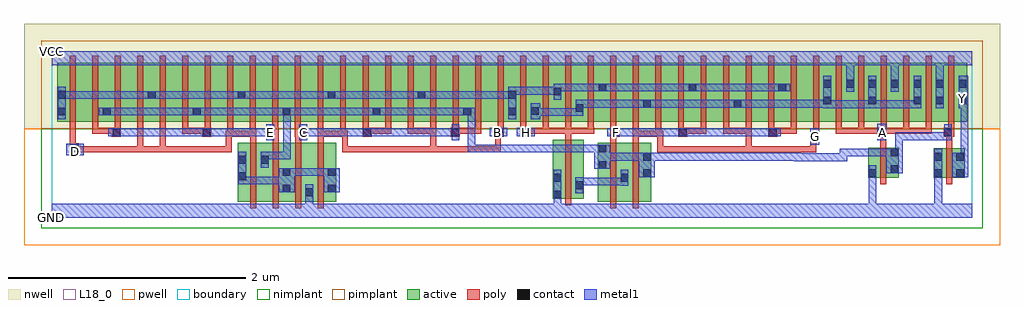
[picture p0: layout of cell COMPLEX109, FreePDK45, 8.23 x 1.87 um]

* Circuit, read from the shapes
.subckt COMPLEX109 A B C D E F G GND H VCC Y
M1 n1 D n2 VSUBS nfet w=0.5u l=0.05u
M2 n2 E n1 VSUBS nfet w=0.5u l=0.05u
M3 GND C n2 VSUBS nfet w=0.5u l=0.05u
M4 n2 B GND VSUBS nfet w=0.5u l=0.05u
M5 n3 H GND VSUBS nfet w=0.5u l=0.05u
M6 n3 F n1 VSUBS nfet w=0.5u l=0.05u
M7 n1 G n3 VSUBS nfet w=0.5u l=0.05u
M8 n1 A GND VSUBS nfet w=0.25u l=0.05u
M9 Y n1 GND VSUBS nfet w=0.25u l=0.05u
M10 n4 D n5 n6 pfet w=0.5u l=0.05u
M11 n1 E n4 n6 pfet w=0.5u l=0.05u
M12 n7 E n1 n6 pfet w=0.5u l=0.05u
M13 n5 D n7 n6 pfet w=0.5u l=0.05u
M14 n8 D n5 n6 pfet w=0.5u l=0.05u
M15 n1 E n8 n6 pfet w=0.5u l=0.05u
M16 n9 E n1 n6 pfet w=0.5u l=0.05u
M17 n5 D n9 n6 pfet w=0.5u l=0.05u
M18 n10 D n5 n6 pfet w=0.5u l=0.05u
M19 n1 E n10 n6 pfet w=0.5u l=0.05u
M20 n11 C n1 n6 pfet w=0.5u l=0.05u
M21 n5 B n11 n6 pfet w=0.5u l=0.05u
M22 n12 B n5 n6 pfet w=0.5u l=0.05u
M23 n1 C n12 n6 pfet w=0.5u l=0.05u
M24 n13 C n1 n6 pfet w=0.5u l=0.05u
M25 n5 B n13 n6 pfet w=0.5u l=0.05u
M26 n14 B n5 n6 pfet w=0.5u l=0.05u
M27 n1 C n14 n6 pfet w=0.5u l=0.05u
M28 n15 C n1 n6 pfet w=0.5u l=0.05u
M29 n5 B n15 n6 pfet w=0.5u l=0.05u
M30 n16 H n5 n6 pfet w=0.5u l=0.05u m=4
M31 n17 F n5 n6 pfet w=0.5u l=0.05u
M32 n16 G n17 n6 pfet w=0.5u l=0.05u
M33 n18 G n16 n6 pfet w=0.5u l=0.05u
M34 n5 F n18 n6 pfet w=0.5u l=0.05u
M35 n19 F n5 n6 pfet w=0.5u l=0.05u
M36 n16 G n19 n6 pfet w=0.5u l=0.05u
M37 n20 G n16 n6 pfet w=0.5u l=0.05u
M38 n5 F n20 n6 pfet w=0.5u l=0.05u
M39 n21 F n5 n6 pfet w=0.5u l=0.05u
M40 n16 G n21 n6 pfet w=0.5u l=0.05u
M41 VCC A n16 n6 pfet w=0.5u l=0.05u m=5
M42 Y n1 VCC n6 pfet w=0.5u l=0.05u
.ends

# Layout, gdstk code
import gdstk
lib = gdstk.Library(unit=1e-6, precision=1e-09)
def R(c, l, rs):  # rectangles x0, y0, x1, y1
    for r in rs: c.add(gdstk.rectangle(r[:2], r[2:], *l))
def A(c, l, x, y, w, h, nx, ny, dx, dy):  # array of equal rectangles
    R(c, l, [(x+i*dx, y+j*dy, x+i*dx+w, y+j*dy+h) for i in range(nx) for j in range(ny)])
active = (1, 0)
pwell = (2, 0)
nwell = (3, 0)
nimplant = (4, 0)
pimplant = (5, 0)
poly = (9, 0)
contact = (10, 0)
metal1 = (11, 0)
L18_0 = (18, 0)
boundary = (235, 0)

complex109 = lib.new_cell('COMPLEX109')
A(complex109, active, 0.045, 0.807, 0.225, 0.5, 4, 1, 0.38, 0)
A(complex109, active, 0.27, 0.807, 0.23, 0.5, 3, 1, 0.38, 0)
A(complex109, active, 2.17, 0.807, 0.225, 0.5, 3, 1, 0.38, 0)
A(complex109, active, 2.32, 0.807, 0.23, 0.5, 3, 1, 0.38, 0)
A(complex109, active, 3.845, 0.807, 0.075, 0.393, 3, 1, 0.38, 0)
R(complex109, active, [(1.567,0.132,1.832,0.632), (1.757,0.132,2.017,0.632), (1.942,0.132,2.207,0.632), (2.132,0.132,2.397,0.632), (2.132,0.132,2.207,0.592), (4.605,0.132,4.865,0.632), (4.79,0.132,5.055,0.632), (4.225,0.157,4.485,0.657), (4.225,0.157,4.3,0.657), (1.567,0.195,1.642,0.632), (1.757,0.195,1.832,0.592), (1.942,0.195,2.017,0.592), (2.322,0.195,2.397,0.632), (4.41,0.195,4.485,0.657), (4.605,0.195,4.68,0.632), (4.79,0.195,4.865,0.592), (4.98,0.195,5.055,0.632), (7.437,0.335,7.512,0.585), (7.437,0.335,7.697,0.585), (7.622,0.335,7.697,0.585), (6.882,0.337,6.957,0.587), (6.882,0.337,7.142,0.587), (7.067,0.37,7.142,0.587), (0.045,0.807,0.15,1.2), (0.425,0.807,0.5,1.07), (0.805,0.807,0.88,1.2), (1.185,0.807,1.26,1.07), (1.41,0.807,1.637,1.307), (1.562,0.807,1.637,1.2), (1.562,0.807,1.79,1.307), (1.79,0.807,2.017,1.307), (1.942,0.807,2.17,1.307), (1.942,0.807,2.017,1.07), (2.32,0.807,2.395,1.2), (2.7,0.807,2.775,1.07), (3.08,0.807,3.155,1.2), (3.31,0.807,3.54,1.307), (3.465,0.807,3.69,1.307), (3.465,0.807,3.54,1.07), (3.69,0.807,3.92,1.307), (3.845,0.807,4.11,1.307), (4.035,0.807,4.3,1.307), (4.035,0.807,4.11,1.07), (4.225,0.807,4.487,1.307), (4.412,0.807,4.487,1.07), (4.412,0.807,4.68,1.307), (4.605,0.807,4.83,1.307), (4.83,0.807,5.055,1.307), (4.98,0.807,5.055,1.07), (4.98,0.807,5.21,1.307), (5.21,0.807,5.44,1.307), (5.365,0.807,5.44,1.2), (5.365,0.807,5.59,1.307), (5.59,0.807,5.82,1.307), (5.745,0.807,5.97,1.307), (5.745,0.807,5.82,1.07), (5.97,0.807,6.197,1.307), (6.122,0.807,6.197,1.2), (6.122,0.807,6.35,1.307), (6.35,0.807,6.575,1.307), (6.5,0.807,6.575,1.2), (6.5,0.807,6.77,1.307), (6.695,0.807,6.955,1.307), (6.695,0.807,6.77,1.307), (6.88,0.807,7.145,1.307), (6.88,0.807,6.955,1.2), (7.07,0.807,7.145,1.307), (7.07,0.807,7.337,1.307), (7.262,0.807,7.337,1.2), (7.262,0.807,7.525,1.307), (7.45,0.807,7.525,1.307), (7.45,0.807,7.717,1.307), (7.642,0.807,7.717,1.2)])
R(complex109, pwell, [(-0.235,-0.235,7.995,0.75)])
R(complex109, nwell, [(-0.235,0.75,7.995,1.635)])
R(complex109, nimplant, [(-0.09,-0.09,7.85,0.75)])
R(complex109, pimplant, [(-0.09,0.75,7.85,1.49)])
A(complex109, poly, 1.672, 0.077, 0.05, 0.61, 4, 1, 0.19, 0)
A(complex109, poly, 1.672, 0.637, 0.05, 0.095, 4, 1, 0.19, 0)
A(complex109, poly, 2.62, 0.707, 0.05, 0.095, 12, 1, 0.19, 0)
A(complex109, poly, 2.647, 0.707, 0.213, 0.05, 3, 1, 1.33, 0)
A(complex109, poly, 5.28, 0.707, 0.05, 0.095, 6, 1, 0.19, 0)
A(complex109, poly, 6.61, 0.707, 0.05, 0.095, 6, 1, 0.19, 0)
A(complex109, poly, 0.15, 0.752, 0.05, 0.61, 40, 1, 0.19, 0)
R(complex109, poly, [(4.71,0.077,4.76,0.687), (4.9,0.077,4.95,0.687), (4.33,0.102,4.38,0.712), (7.542,0.28,7.592,0.64), (6.987,0.282,7.037,0.642), (0.15,0.55,0.227,0.625), (0.177,0.55,0.227,0.6), (0.177,0.55,0.227,0.6), (0.177,0.55,0.227,0.6), (0.177,0.55,0.227,0.6), (0.177,0.55,0.227,0.6), (0.177,0.55,0.227,0.6), (0.177,0.55,0.425,0.6), (0.375,0.55,0.425,0.6), (0.375,0.55,0.425,0.6), (0.375,0.55,0.425,0.6), (0.375,0.55,0.637,0.6), (0.587,0.55,0.637,0.6), (0.587,0.55,0.637,0.6), (0.587,0.55,0.637,0.6), (0.587,0.55,0.772,0.6), (0.72,0.55,0.772,0.6), (0.72,0.55,0.77,0.802), (0.722,0.55,0.772,0.6), (0.722,0.55,0.772,0.6), (0.722,0.55,0.772,0.6), (0.722,0.55,0.772,0.6), (0.722,0.55,0.772,0.6), (0.722,0.55,0.772,0.6), (0.722,0.55,0.96,0.6), (0.91,0.55,0.962,0.6), (0.91,0.55,0.96,0.802), (0.912,0.55,0.962,0.6), (0.912,0.55,0.962,0.6), (0.912,0.55,0.962,0.6), (0.912,0.55,0.962,0.6), (0.912,0.55,0.962,0.6), (0.912,0.55,0.962,0.6), (0.912,0.55,1.185,0.6), (1.135,0.55,1.185,0.6), (1.135,0.55,1.185,0.6), (1.135,0.55,1.185,0.6), (1.135,0.55,1.385,0.6), (1.335,0.55,1.385,0.6), (1.335,0.55,1.385,0.6), (1.335,0.55,1.385,0.6), (1.335,0.55,1.517,0.6), (1.467,0.55,1.517,0.6), (1.467,0.55,1.517,0.6), (1.467,0.55,1.517,0.6), (1.467,0.55,1.517,0.732), (2.447,0.55,2.497,0.6), (2.447,0.55,2.497,0.6), (2.447,0.55,2.497,0.6), (2.447,0.55,2.497,0.6), (2.447,0.55,2.497,0.6), (2.447,0.55,2.497,0.732), (2.447,0.55,2.697,0.6), (2.647,0.55,2.697,0.6), (2.647,0.55,2.697,0.6), (2.647,0.55,2.697,0.6), (2.647,0.55,2.83,0.6), (2.78,0.55,2.83,0.6), (2.78,0.55,2.977,0.6), (2.927,0.55,2.977,0.6), (2.927,0.55,2.977,0.6), (2.927,0.55,2.977,0.6), (2.927,0.55,3.11,0.6), (3.06,0.55,3.11,0.6), (3.06,0.55,3.242,0.6), (3.192,0.55,3.242,0.6), (3.192,0.55,3.242,0.6), (3.192,0.55,3.242,0.6), (3.192,0.55,3.375,0.6), (3.192,0.55,3.242,0.757), (3.325,0.55,3.375,0.6), (3.325,0.55,3.375,0.6), (3.325,0.55,3.375,0.6), (3.325,0.55,3.655,0.6), (3.605,0.55,3.655,0.6), (3.605,0.55,3.787,0.6), (3.737,0.55,3.787,0.6), (3.737,0.55,3.787,0.6), (3.737,0.55,3.787,0.6), (3.737,0.55,3.787,0.6), (3.737,0.55,3.787,0.6), (3.737,0.55,3.787,0.732), (5.105,0.55,5.155,0.6), (5.105,0.55,5.155,0.6), (5.105,0.55,5.155,0.6), (5.105,0.55,5.387,0.6), (5.105,0.55,5.155,0.732), (5.337,0.55,5.387,0.6), (5.337,0.55,5.387,0.6), (5.337,0.55,5.387,0.6), (5.337,0.55,5.522,0.6), (5.472,0.55,5.522,0.6), (5.472,0.55,5.522,0.6), (5.472,0.55,5.522,0.6), (5.472,0.55,5.767,0.6), (5.717,0.55,5.767,0.6), (5.717,0.55,5.767,0.6), (5.717,0.55,5.767,0.6), (5.717,0.55,5.902,0.6), (5.852,0.55,5.902,0.6), (5.852,0.55,5.902,0.6), (5.852,0.55,5.902,0.6), (5.852,0.55,6.035,0.6), (5.852,0.55,5.902,0.757), (5.985,0.55,6.035,0.6), (5.985,0.55,6.035,0.6), (5.985,0.55,6.035,0.6), (5.985,0.55,6.25,0.6), (6.2,0.55,6.25,0.6), (6.2,0.55,6.25,0.6), (6.2,0.55,6.25,0.6), (6.2,0.55,6.447,0.6), (6.397,0.55,6.447,0.6), (6.397,0.55,6.447,0.6), (6.397,0.55,6.447,0.6), (6.397,0.55,6.447,0.697), (0.15,0.575,0.2,0.802), (7.542,0.59,7.592,0.732), (6.987,0.592,7.037,0.732), (4.71,0.637,4.76,0.732), (4.9,0.637,4.95,0.732), (6.397,0.647,6.447,0.697), (6.397,0.647,6.447,0.697), (6.397,0.647,6.472,0.722), (4.33,0.662,4.38,0.757), (6.42,0.672,6.47,0.802), (0.507,0.682,0.582,0.757), (1.267,0.682,1.342,0.757), (1.467,0.682,1.532,0.732), (1.48,0.682,1.53,0.802), (1.482,0.682,1.532,0.732), (1.482,0.682,1.532,0.732), (1.482,0.682,1.72,0.732), (1.67,0.682,1.722,0.732), (1.67,0.682,1.72,0.802), (1.807,0.682,1.912,0.757), (2.05,0.682,2.157,0.757), (2.24,0.682,2.292,0.732), (2.24,0.682,2.29,0.802), (2.242,0.682,2.292,0.732), (2.242,0.682,2.292,0.732), (2.242,0.682,2.48,0.732), (2.43,0.682,2.48,0.802), (2.43,0.682,2.497,0.732), (2.62,0.682,2.697,0.757), (3.365,0.682,3.44,0.757), (3.737,0.682,3.812,0.757), (3.95,0.682,4.027,0.757), (4.71,0.682,4.787,0.757), (4.9,0.682,4.95,0.732), (4.9,0.682,4.95,0.732), (4.9,0.682,4.95,0.732), (4.9,0.682,5.14,0.732), (4.9,0.682,4.95,0.802), (5.09,0.682,5.142,0.732), (5.09,0.682,5.14,0.802), (5.092,0.682,5.142,0.732), (5.092,0.682,5.155,0.732), (5.28,0.682,5.357,0.757), (6.04,0.682,6.117,0.757), (6.965,0.682,7.04,0.757), (7.52,0.682,7.61,0.757), (0.34,0.707,0.39,0.802), (0.34,0.707,0.392,0.757), (0.342,0.707,0.392,0.757), (0.342,0.707,0.392,0.757), (0.342,0.707,0.557,0.757), (0.53,0.707,0.58,0.802), (1.1,0.707,1.15,0.802), (1.1,0.707,1.152,0.757), (1.102,0.707,1.152,0.757), (1.102,0.707,1.152,0.757), (1.102,0.707,1.317,0.757), (1.29,0.707,1.34,0.802), (1.86,0.707,1.91,0.802), (2.05,0.707,2.1,0.802), (2.647,0.707,2.697,0.757), (2.647,0.707,2.697,0.757), (2.81,0.707,2.86,0.757), (3,0.707,3.05,0.757), (3,0.707,3.11,0.757), (3.06,0.707,3.11,0.757), (3.06,0.707,3.24,0.757), (3.19,0.707,3.242,0.757), (3.192,0.707,3.242,0.757), (3.192,0.707,3.242,0.757), (3.39,0.707,3.44,0.757), (3.39,0.707,3.44,0.757), (3.39,0.707,3.62,0.757), (3.57,0.707,3.62,0.757), (4.14,0.707,4.192,0.757), (4.14,0.707,4.192,0.757), (4.142,0.707,4.192,0.757), (4.142,0.707,4.38,0.757), (4.33,0.707,4.38,0.757), (4.33,0.707,4.38,0.757), (4.33,0.707,4.38,0.757), (4.33,0.707,4.57,0.757), (4.52,0.707,4.572,0.757), (4.52,0.707,4.572,0.757), (4.522,0.707,4.572,0.757), (5.307,0.707,5.357,0.757), (5.307,0.707,5.357,0.757), (5.47,0.707,5.52,0.757), (5.66,0.707,5.71,0.757), (5.66,0.707,5.71,0.757), (5.66,0.707,5.71,0.757), (5.66,0.707,5.9,0.757), (5.85,0.707,5.902,0.757), (6.067,0.707,6.28,0.757), (6.23,0.707,6.282,0.757), (6.23,0.707,6.282,0.757), (6.232,0.707,6.282,0.757), (6.61,0.707,6.66,0.757), (6.61,0.707,6.85,0.757), (6.8,0.707,6.852,0.757), (6.8,0.707,6.852,0.757), (6.802,0.707,6.852,0.757), (6.802,0.707,7.015,0.757), (6.965,0.707,7.015,0.757), (6.965,0.707,7.015,0.757), (6.99,0.707,7.23,0.757), (7.18,0.707,7.232,0.757), (7.18,0.707,7.232,0.757), (7.182,0.707,7.232,0.757), (7.182,0.707,7.42,0.757), (7.37,0.707,7.42,0.757), (7.37,0.707,7.42,0.757), (7.37,0.707,7.42,0.757)])
R(complex109, contact, [(4.23,0.162,4.295,0.227), (2.137,0.18,2.202,0.245), (1.947,0.212,2.012,0.277), (2.327,0.212,2.392,0.277), (4.415,0.24,4.48,0.305), (4.23,0.302,4.295,0.367), (4.795,0.302,4.86,0.367), (1.572,0.315,1.637,0.38), (4.985,0.34,5.05,0.405), (7.442,0.34,7.507,0.405), (7.627,0.34,7.692,0.405), (6.887,0.342,6.952,0.407), (1.947,0.352,2.012,0.417), (2.327,0.352,2.392,0.417), (7.072,0.375,7.137,0.44), (4.61,0.41,4.675,0.475), (1.572,0.455,1.637,0.52), (1.762,0.455,1.827,0.52), (4.985,0.48,5.05,0.545), (7.442,0.48,7.507,0.545), (7.627,0.48,7.692,0.545), (7.072,0.515,7.137,0.58), (4.61,0.55,4.675,0.615), (0.157,0.555,0.222,0.62), (6.402,0.652,6.467,0.717), (0.512,0.687,0.577,0.752), (1.272,0.687,1.337,0.752), (1.812,0.687,1.877,0.752), (2.087,0.687,2.152,0.752), (2.627,0.687,2.692,0.752), (3.37,0.687,3.435,0.752), (3.742,0.687,3.807,0.752), (3.957,0.687,4.022,0.752), (4.717,0.687,4.782,0.752), (5.287,0.687,5.352,0.752), (6.047,0.687,6.112,0.752), (6.97,0.687,7.035,0.752), (7.525,0.687,7.59,0.752), (0.05,0.862,0.115,0.927), (0.43,0.862,0.495,0.927), (1.19,0.862,1.255,0.927), (1.947,0.862,2.012,0.927), (2.705,0.862,2.77,0.927), (3.47,0.862,3.535,0.927), (3.85,0.862,3.915,0.927), (4.04,0.865,4.105,0.93), (4.417,0.892,4.482,0.957), (4.985,0.927,5.05,0.992), (5.75,0.927,5.815,0.992), (6.505,0.955,6.57,1.02), (6.885,0.955,6.95,1.02), (7.267,0.955,7.332,1.02), (7.455,0.955,7.52,1.02), (7.647,0.955,7.712,1.02), (0.81,1,0.875,1.065), (1.567,1,1.632,1.065), (2.325,1,2.39,1.065), (3.085,1,3.15,1.065), (0.05,1.002,0.115,1.067), (3.85,1.002,3.915,1.067), (4.23,1.03,4.295,1.095), (4.61,1.065,4.675,1.13), (5.37,1.065,5.435,1.13), (6.127,1.065,6.192,1.13), (6.505,1.095,6.57,1.16), (6.7,1.095,6.765,1.16), (6.885,1.095,6.95,1.16), (7.075,1.095,7.14,1.16), (7.267,1.095,7.332,1.16), (7.455,1.095,7.52,1.16), (7.647,1.095,7.712,1.16)])
R(complex109, metal1, [(0,0,7.76,0.115), (2.137,0.05,2.202,0.21), (4.23,0.05,4.295,0.115), (4.23,0.05,4.295,0.115), (4.23,0.05,4.295,0.192), (6.887,0.05,6.952,0.115), (6.887,0.05,6.952,0.115), (6.887,0.05,6.952,0.352), (7.442,0.05,7.507,0.115), (7.442,0.05,7.507,0.115), (7.442,0.05,7.507,0.115), (7.442,0.05,7.507,0.115), (7.442,0.05,7.507,0.115), (7.442,0.05,7.507,0.115), (7.442,0.05,7.507,0.37), (4.23,0.127,4.295,0.402), (2.137,0.145,2.202,0.21), (2.137,0.145,2.202,0.21), (2.137,0.145,2.202,0.28), (4.415,0.205,4.48,0.34), (1.912,0.212,2.047,0.417), (2.292,0.212,2.427,0.417), (4.795,0.267,4.86,0.402), (4.415,0.272,4.48,0.337), (4.415,0.272,4.48,0.337), (4.415,0.272,4.64,0.337), (4.575,0.272,4.64,0.337), (4.575,0.272,4.86,0.337), (4.795,0.272,4.86,0.337), (4.795,0.272,4.86,0.337), (1.572,0.28,1.637,0.555), (1.572,0.28,1.735,0.345), (1.67,0.28,1.735,0.345), (1.67,0.28,1.84,0.345), (1.775,0.28,1.84,0.345), (1.775,0.28,1.872,0.345), (1.807,0.28,1.872,0.345), (1.807,0.28,1.977,0.345), (6.887,0.287,6.952,0.352), (6.887,0.287,6.952,0.352), (6.887,0.287,6.952,0.372), (7.442,0.305,7.507,0.58), (6.887,0.307,6.952,0.372), (6.887,0.307,6.952,0.442), (4.95,0.34,5.085,0.545), (7.592,0.34,7.727,0.545), (1.982,0.352,2.185,0.417), (2.12,0.352,2.185,0.417), (2.12,0.352,2.185,0.417), (2.12,0.352,2.185,0.417), (2.12,0.352,2.357,0.417), (2.292,0.352,2.357,0.417), (2.292,0.352,2.357,0.417), (7.037,0.375,7.175,0.58), (4.575,0.41,4.71,0.615), (1.762,0.42,1.827,0.555), (6.255,0.475,6.32,0.54), (6.255,0.475,6.32,0.54), (6.255,0.475,6.457,0.54), (6.255,0.475,6.32,0.545), (6.392,0.475,6.457,0.54), (6.392,0.475,6.457,0.54), (6.392,0.475,6.457,0.54), (6.392,0.475,6.707,0.54), (6.642,0.475,6.707,0.54), (6.642,0.475,6.707,0.54), (6.642,0.475,6.707,0.54), (6.642,0.475,6.707,0.58), (4.645,0.48,4.85,0.545), (4.785,0.48,4.85,0.545), (4.785,0.48,4.85,0.545), (4.785,0.48,4.85,0.545), (4.785,0.48,5.015,0.545), (4.95,0.48,5.015,0.545), (4.95,0.48,5.015,0.545), (5.02,0.48,5.18,0.545), (5.115,0.48,5.18,0.545), (5.115,0.48,5.222,0.545), (5.157,0.48,5.222,0.545), (5.157,0.48,5.505,0.545), (5.44,0.48,5.505,0.545), (5.44,0.48,5.505,0.545), (5.44,0.48,5.505,0.545), (5.44,0.48,5.642,0.545), (5.577,0.48,5.642,0.545), (5.577,0.48,5.642,0.545), (5.577,0.48,5.642,0.545), (5.577,0.48,5.782,0.545), (5.717,0.48,5.782,0.545), (5.717,0.48,5.782,0.545), (5.717,0.48,5.782,0.545), (5.717,0.48,5.92,0.545), (5.855,0.48,5.92,0.545), (5.855,0.48,6.02,0.545), (5.955,0.48,6.02,0.545), (5.955,0.48,6.157,0.545), (6.092,0.48,6.157,0.545), (6.092,0.48,6.157,0.545), (6.092,0.48,6.157,0.545), (6.092,0.48,6.32,0.545), (7.662,0.48,7.727,0.985), (7.662,0.48,7.727,0.545), (7.662,0.48,7.727,0.545), (7.662,0.48,7.727,0.545), (7.662,0.48,7.727,0.545), (7.662,0.48,7.727,0.545), (7.662,0.48,7.727,0.545), (1.762,0.49,1.872,0.555), (1.807,0.49,1.872,0.555), (1.807,0.49,2.015,0.555), (1.95,0.49,2.015,0.555), (1.95,0.49,2.015,0.927), (6.642,0.515,6.707,0.58), (6.642,0.515,6.887,0.58), (6.822,0.515,6.887,0.58), (6.822,0.515,6.95,0.58), (6.885,0.515,6.95,0.58), (6.885,0.515,7.032,0.58), (6.967,0.515,7.032,0.58), (6.967,0.515,7.102,0.58), (7.11,0.515,7.175,0.717), (0.122,0.527,0.267,0.62), (3.507,0.55,3.572,0.615), (3.507,0.55,3.572,0.615), (3.507,0.55,3.572,0.615), (3.507,0.55,3.572,0.615), (3.507,0.55,3.572,0.615), (3.507,0.55,3.777,0.615), (3.507,0.55,3.572,0.927), (3.712,0.55,3.777,0.615), (3.712,0.55,3.777,0.615), (3.712,0.55,3.777,0.615), (3.712,0.55,3.777,0.615), (3.712,0.55,3.777,0.615), (3.712,0.55,3.915,0.615), (3.85,0.55,3.915,0.615), (3.85,0.55,3.915,0.615), (3.85,0.55,3.915,0.615), (3.85,0.55,4.117,0.615), (4.052,0.55,4.117,0.615), (4.052,0.55,4.117,0.615), (4.052,0.55,4.117,0.615), (4.052,0.55,4.325,0.615), (4.26,0.55,4.325,0.615), (4.26,0.55,4.325,0.615), (4.26,0.55,4.325,0.615), (4.26,0.55,4.502,0.615), (4.437,0.55,4.502,0.615), (4.437,0.55,4.502,0.615), (4.437,0.55,4.502,0.615), (4.437,0.55,4.64,0.615), (6.397,0.612,6.472,0.752), (1.807,0.652,1.877,0.787), (2.087,0.652,2.152,0.787), (3.37,0.652,3.435,0.787), (6.96,0.652,7.037,0.79), (7.11,0.652,7.175,0.717), (7.11,0.652,7.175,0.717), (7.11,0.652,7.175,0.717), (7.11,0.652,7.315,0.717), (7.25,0.652,7.315,0.717), (7.25,0.652,7.452,0.717), (7.387,0.652,7.452,0.717), (7.387,0.652,7.452,0.717), (7.387,0.652,7.452,0.717), (7.387,0.652,7.59,0.717), (7.525,0.652,7.59,0.787), (0.477,0.687,0.612,0.752), (0.547,0.687,0.702,0.752), (0.637,0.687,0.702,0.752), (0.637,0.687,0.842,0.752), (0.777,0.687,0.842,0.752), (0.777,0.687,0.842,0.752), (0.777,0.687,0.842,0.752), (0.777,0.687,0.98,0.752), (0.915,0.687,0.98,0.752), (0.915,0.687,1.082,0.752), (1.017,0.687,1.082,0.752), (1.017,0.687,1.165,0.752), (1.1,0.687,1.165,0.752), (1.1,0.687,1.302,0.752), (1.237,0.687,1.302,0.752), (1.237,0.687,1.302,0.752), (1.237,0.687,1.372,0.752), (1.307,0.687,1.46,0.752), (1.395,0.687,1.46,0.752), (1.395,0.687,1.597,0.752), (1.532,0.687,1.597,0.752), (1.532,0.687,1.597,0.752), (1.532,0.687,1.597,0.752), (1.532,0.687,1.735,0.752), (1.67,0.687,1.735,0.752), (1.67,0.687,1.84,0.752), (1.775,0.687,1.84,0.752), (1.775,0.687,1.872,0.752), (2.087,0.687,2.185,0.752), (2.12,0.687,2.185,0.752), (2.12,0.687,2.382,0.752), (2.317,0.687,2.382,0.752), (2.317,0.687,2.382,0.752), (2.317,0.687,2.382,0.752), (2.317,0.687,2.52,0.752), (2.455,0.687,2.52,0.752), (2.455,0.687,2.59,0.752), (2.525,0.687,2.59,0.752), (2.525,0.687,2.657,0.752), (2.592,0.687,2.727,0.752), (2.662,0.687,2.727,0.752), (2.662,0.687,2.727,0.752), (2.662,0.687,2.942,0.752), (2.877,0.687,2.942,0.752), (2.877,0.687,2.942,0.752), (2.877,0.687,2.942,0.752), (2.877,0.687,3.087,0.752), (3.022,0.687,3.087,0.752), (3.022,0.687,3.087,0.752), (3.022,0.687,3.087,0.752), (3.022,0.687,3.225,0.752), (3.16,0.687,3.225,0.752), (3.16,0.687,3.362,0.752), (3.297,0.687,3.362,0.752), (3.297,0.687,3.435,0.752), (3.692,0.687,3.842,0.755), (3.922,0.687,4.072,0.755), (4.682,0.687,4.827,0.752), (4.762,0.687,4.85,0.752), (4.785,0.687,4.85,0.752), (4.785,0.687,4.997,0.752), (4.932,0.687,4.997,0.752), (4.932,0.687,4.997,0.752), (4.932,0.687,4.997,0.752), (4.932,0.687,5.18,0.752), (5.115,0.687,5.18,0.752), (5.115,0.687,5.222,0.752), (5.157,0.687,5.222,0.752), (5.157,0.687,5.317,0.752), (5.252,0.687,5.387,0.752), (5.322,0.687,5.387,0.752), (5.322,0.687,5.387,0.752), (5.322,0.687,5.642,0.752), (5.577,0.687,5.642,0.752), (5.577,0.687,5.642,0.752), (5.577,0.687,5.642,0.752), (5.577,0.687,5.782,0.752), (5.717,0.687,5.782,0.752), (5.717,0.687,5.782,0.752), (5.717,0.687,5.782,0.752), (5.717,0.687,5.92,0.752), (5.855,0.687,5.92,0.752), (5.855,0.687,6.02,0.752), (5.955,0.687,6.02,0.752), (5.955,0.687,6.077,0.752), (6.012,0.687,6.147,0.752), (0.05,0.827,0.117,1.102), (3.85,0.827,3.915,1.102), (4.04,0.83,4.117,0.965), (4.052,0.857,4.117,0.922), (4.052,0.857,4.117,0.922), (4.052,0.857,4.255,0.922), (4.19,0.857,4.255,0.922), (4.19,0.857,4.255,0.922), (4.19,0.857,4.255,0.922), (4.19,0.857,4.482,0.922), (4.417,0.857,4.482,0.992), (0.395,0.862,0.532,0.927), (0.467,0.862,0.532,0.927), (0.467,0.862,0.532,0.927), (0.467,0.862,0.702,0.927), (0.637,0.862,0.702,0.927), (0.637,0.862,0.842,0.927), (0.777,0.862,0.842,0.927), (0.777,0.862,0.842,0.927), (0.777,0.862,0.842,0.927), (0.777,0.862,0.98,0.927), (0.915,0.862,0.98,0.927), (0.915,0.862,1.082,0.927), (1.017,0.862,1.082,0.927), (1.017,0.862,1.165,0.927), (1.1,0.862,1.165,0.927), (1.1,0.862,1.22,0.927), (1.155,0.862,1.29,0.927), (1.225,0.862,1.397,0.927), (1.332,0.862,1.397,0.927), (1.332,0.862,1.44,0.927), (1.375,0.862,1.44,0.927), (1.375,0.862,1.597,0.927), (1.532,0.862,1.597,0.927), (1.532,0.862,1.597,0.927), (1.532,0.862,1.597,0.927), (1.532,0.862,1.735,0.927), (1.67,0.862,1.735,0.927), (1.67,0.862,1.84,0.927), (1.775,0.862,1.84,0.927), (1.775,0.862,1.872,0.927), (1.807,0.862,1.872,0.927), (1.807,0.862,1.977,0.927), (1.912,0.862,2.047,0.927), (1.95,0.862,2.015,0.927), (1.95,0.862,2.015,0.927), (1.95,0.862,2.015,0.927), (1.95,0.862,2.015,0.927), (1.95,0.862,2.015,0.927), (1.95,0.862,2.015,0.927), (1.95,0.862,2.217,0.927), (2.152,0.862,2.217,0.927), (2.152,0.862,2.382,0.927), (2.317,0.862,2.382,0.927), (2.317,0.862,2.382,0.927), (2.317,0.862,2.382,0.927), (2.317,0.862,2.52,0.927), (2.455,0.862,2.52,0.927), (2.455,0.862,2.562,0.927), (2.497,0.862,2.562,0.927), (2.497,0.862,2.735,0.927), (2.67,0.862,2.735,0.927), (2.67,0.862,2.735,0.927), (2.67,0.862,2.805,0.927), (2.74,0.862,2.942,0.927), (2.877,0.862,2.942,0.927), (2.877,0.862,2.942,0.927), (2.877,0.862,2.942,0.927), (2.877,0.862,3.087,0.927), (3.022,0.862,3.087,0.927), (3.022,0.862,3.087,0.927), (3.022,0.862,3.087,0.927), (3.022,0.862,3.225,0.927), (3.16,0.862,3.225,0.927), (3.16,0.862,3.362,0.927), (3.297,0.862,3.362,0.927), (3.297,0.862,3.362,0.927), (3.297,0.862,3.362,0.927), (3.297,0.862,3.5,0.927), (3.435,0.862,3.572,0.927), (6.505,0.92,6.57,1.195), (6.885,0.92,6.95,1.195), (7.267,0.92,7.332,1.195), (7.455,0.92,7.52,1.195), (7.647,0.92,7.727,1.195), (6.505,0.922,6.75,0.987), (6.685,0.922,6.75,0.987), (6.685,0.922,6.75,0.987), (6.685,0.922,6.75,0.987), (6.685,0.922,6.887,0.987), (6.822,0.922,6.887,0.987), (6.822,0.922,6.95,0.987), (6.885,0.922,7.032,0.987), (6.967,0.922,7.032,0.987), (6.967,0.922,7.172,0.987), (7.107,0.922,7.172,0.987), (7.107,0.922,7.175,0.987), (7.11,0.922,7.175,0.987), (7.11,0.922,7.332,0.987), (4.417,0.927,4.482,0.992), (4.417,0.927,4.482,0.992), (4.417,0.927,4.64,0.992), (4.575,0.927,4.64,0.992), (4.575,0.927,4.85,0.992), (4.785,0.927,4.85,0.992), (4.785,0.927,4.85,0.992), (4.785,0.927,4.85,0.992), (4.785,0.927,5.015,0.992), (4.95,0.927,5.015,0.992), (4.95,0.927,5.015,0.992), (4.95,0.927,5.085,0.992), (5.02,0.927,5.18,0.992), (5.115,0.927,5.18,0.992), (5.115,0.927,5.222,0.992), (5.157,0.927,5.222,0.992), (5.157,0.927,5.505,0.992), (5.44,0.927,5.505,0.992), (5.44,0.927,5.505,0.992), (5.44,0.927,5.505,0.992), (5.44,0.927,5.642,0.992), (5.577,0.927,5.642,0.992), (5.577,0.927,5.642,0.992), (5.577,0.927,5.642,0.992), (5.577,0.927,5.78,0.992), (5.715,0.927,5.85,0.992), (5.715,0.927,5.782,0.992), (5.717,0.927,5.782,0.992), (5.785,0.927,5.92,0.992), (5.855,0.927,5.92,0.992), (5.855,0.927,6.02,0.992), (5.955,0.927,6.02,0.992), (5.955,0.927,6.157,0.992), (6.092,0.927,6.157,0.992), (6.092,0.927,6.157,0.992), (6.092,0.927,6.157,0.992), (6.092,0.927,6.32,0.992), (6.255,0.927,6.32,0.992), (6.255,0.927,6.32,0.992), (6.255,0.927,6.32,0.992), (6.255,0.927,6.57,0.992), (6.505,0.927,6.57,0.992), (6.505,0.927,6.57,0.992), (4.23,0.995,4.297,1.13), (0.052,1,0.117,1.065), (0.052,1,0.117,1.065), (0.052,1,0.322,1.065), (0.257,1,0.322,1.065), (0.257,1,0.322,1.065), (0.257,1,0.322,1.065), (0.257,1,0.565,1.065), (0.5,1,0.565,1.065), (0.5,1,0.565,1.065), (0.5,1,0.565,1.065), (0.5,1,0.702,1.065), (0.637,1,0.702,1.065), (0.637,1,0.84,1.065), (0.775,1,0.91,1.065), (0.775,1,0.842,1.065), (0.777,1,0.842,1.065), (0.845,1,0.98,1.065), (0.915,1,0.98,1.065), (0.915,1,1.082,1.065), (1.017,1,1.082,1.065), (1.017,1,1.165,1.065), (1.1,1,1.165,1.065), (1.1,1,1.302,1.065), (1.237,1,1.302,1.065), (1.237,1,1.44,1.065), (1.375,1,1.44,1.065), (1.375,1,1.44,1.065), (1.375,1,1.44,1.065), (1.375,1,1.597,1.065), (1.532,1,1.597,1.065), (1.532,1,1.597,1.065), (1.532,1,1.667,1.065), (1.602,1,1.735,1.065), (1.67,1,1.735,1.065), (1.67,1,1.84,1.065), (1.775,1,1.84,1.065), (1.775,1,1.872,1.065), (1.807,1,1.872,1.065), (1.807,1,2.047,1.065), (1.982,1,2.047,1.065), (1.982,1,2.047,1.065), (1.982,1,2.047,1.065), (1.982,1,2.185,1.065), (2.12,1,2.185,1.065), (2.12,1,2.355,1.065), (2.29,1,2.355,1.065), (2.29,1,2.355,1.065), (2.29,1,2.425,1.065), (2.36,1,2.52,1.065), (2.455,1,2.52,1.065), (2.455,1,2.562,1.065), (2.497,1,2.562,1.065), (2.497,1,2.805,1.065), (2.74,1,2.805,1.065), (2.74,1,2.805,1.065), (2.74,1,2.805,1.065), (2.74,1,2.95,1.065), (2.885,1,2.95,1.065), (2.885,1,2.95,1.065), (2.885,1,2.95,1.065), (2.885,1,3.087,1.065), (3.022,1,3.087,1.065), (3.022,1,3.115,1.065), (3.05,1,3.185,1.065), (3.12,1,3.225,1.065), (3.16,1,3.225,1.065), (3.16,1,3.362,1.065), (3.297,1,3.362,1.065), (3.297,1,3.362,1.065), (3.297,1,3.362,1.065), (3.297,1,3.62,1.065), (3.555,1,3.62,1.065), (3.555,1,3.62,1.065), (3.555,1,3.62,1.065), (3.555,1,3.777,1.065), (3.712,1,3.777,1.065), (3.712,1,3.777,1.065), (3.712,1,3.777,1.065), (3.712,1,3.915,1.065), (3.85,1.037,3.915,1.102), (3.85,1.037,3.915,1.102), (3.85,1.037,4.117,1.102), (4.052,1.037,4.117,1.102), (4.052,1.037,4.117,1.102), (4.052,1.037,4.117,1.102), (4.052,1.037,4.295,1.102), (6.7,1.06,6.765,1.195), (7.075,1.06,7.14,1.195), (4.232,1.065,4.297,1.13), (4.232,1.065,4.297,1.13), (4.232,1.065,4.502,1.13), (4.437,1.065,4.502,1.13), (4.437,1.065,4.502,1.13), (4.437,1.065,4.502,1.13), (4.437,1.065,4.64,1.13), (4.575,1.065,4.71,1.13), (4.645,1.065,4.86,1.13), (4.795,1.065,4.86,1.13), (4.795,1.065,4.86,1.13), (4.795,1.065,4.86,1.13), (4.795,1.065,4.997,1.13), (4.932,1.065,4.997,1.13), (4.932,1.065,4.997,1.13), (4.932,1.065,4.997,1.13), (4.932,1.065,5.18,1.13), (5.115,1.065,5.18,1.13), (5.115,1.065,5.222,1.13), (5.157,1.065,5.222,1.13), (5.157,1.065,5.4,1.13), (5.335,1.065,5.47,1.13), (5.335,1.065,5.402,1.13), (5.337,1.065,5.402,1.13), (5.405,1.065,5.642,1.13), (5.577,1.065,5.642,1.13), (5.577,1.065,5.642,1.13), (5.577,1.065,5.642,1.13), (5.577,1.065,5.782,1.13), (5.717,1.065,5.782,1.13), (5.717,1.065,5.782,1.13), (5.717,1.065,5.782,1.13), (5.717,1.065,5.92,1.13), (5.855,1.065,5.92,1.13), (5.855,1.065,5.99,1.13), (5.925,1.065,5.99,1.13), (5.925,1.065,6.157,1.13), (6.092,1.065,6.157,1.13), (6.092,1.065,6.157,1.13), (6.092,1.065,6.227,1.13), (6.7,1.13,6.765,1.35), (7.075,1.13,7.14,1.35), (7.455,1.13,7.52,1.35), (0,1.285,7.76,1.4)])
R(complex109, L18_0, [(0,0,7.76,0.115), (2.137,0.05,2.202,0.21), (4.23,0.05,4.295,0.115), (4.23,0.05,4.295,0.115), (4.23,0.05,4.295,0.192), (6.887,0.05,6.952,0.115), (6.887,0.05,6.952,0.115), (6.887,0.05,6.952,0.352), (7.442,0.05,7.507,0.115), (7.442,0.05,7.507,0.115), (7.442,0.05,7.507,0.115), (7.442,0.05,7.507,0.115), (7.442,0.05,7.507,0.115), (7.442,0.05,7.507,0.115), (7.442,0.05,7.507,0.37), (4.23,0.127,4.295,0.402), (2.137,0.145,2.202,0.21), (2.137,0.145,2.202,0.21), (2.137,0.145,2.202,0.28), (6.887,0.287,6.952,0.352), (6.887,0.287,6.952,0.352), (6.887,0.287,6.952,0.372), (7.442,0.305,7.507,0.58), (6.887,0.307,6.952,0.372), (6.887,0.307,6.952,0.442), (7.592,0.34,7.727,0.545), (7.662,0.48,7.727,0.545), (7.662,0.48,7.727,0.545), (7.662,0.48,7.727,0.545), (7.662,0.48,7.727,0.545), (7.662,0.48,7.727,0.545), (7.662,0.48,7.727,0.545), (7.662,0.48,7.727,0.985), (0.122,0.527,0.267,0.62), (0.167,0.527,0.232,0.592), (6.397,0.612,6.472,0.752), (6.407,0.647,6.472,0.712), (1.807,0.652,1.877,0.787), (2.087,0.652,2.152,0.787), (3.37,0.652,3.435,0.787), (6.96,0.652,7.037,0.79), (0.477,0.687,0.612,0.752), (0.547,0.687,0.702,0.752), (0.637,0.687,0.702,0.752), (0.637,0.687,0.842,0.752), (0.777,0.687,0.842,0.752), (0.777,0.687,0.842,0.752), (0.777,0.687,0.842,0.752), (0.777,0.687,0.98,0.752), (0.915,0.687,0.98,0.752), (0.915,0.687,1.082,0.752), (1.017,0.687,1.082,0.752), (1.017,0.687,1.165,0.752), (1.1,0.687,1.165,0.752), (1.1,0.687,1.302,0.752), (1.237,0.687,1.372,0.752), (1.237,0.687,1.302,0.752), (1.237,0.687,1.302,0.752), (1.307,0.687,1.46,0.752), (1.395,0.687,1.46,0.752), (1.395,0.687,1.597,0.752), (1.532,0.687,1.597,0.752), (1.532,0.687,1.597,0.752), (1.532,0.687,1.597,0.752), (1.532,0.687,1.735,0.752), (1.67,0.687,1.735,0.752), (1.67,0.687,1.84,0.752), (1.775,0.687,1.84,0.752), (1.775,0.687,1.872,0.752), (1.807,0.687,1.872,0.752), (2.087,0.687,2.152,0.752), (2.087,0.687,2.185,0.752), (2.12,0.687,2.185,0.752), (2.12,0.687,2.382,0.752), (2.317,0.687,2.382,0.752), (2.317,0.687,2.382,0.752), (2.317,0.687,2.382,0.752), (2.317,0.687,2.52,0.752), (2.455,0.687,2.59,0.752), (2.455,0.687,2.52,0.752), (2.525,0.687,2.59,0.752), (2.525,0.687,2.657,0.752), (2.592,0.687,2.727,0.752), (2.662,0.687,2.727,0.752), (2.662,0.687,2.727,0.752), (2.662,0.687,2.942,0.752), (2.877,0.687,2.942,0.752), (2.877,0.687,2.942,0.752), (2.877,0.687,2.942,0.752), (2.877,0.687,3.087,0.752), (3.022,0.687,3.087,0.752), (3.022,0.687,3.087,0.752), (3.022,0.687,3.087,0.752), (3.022,0.687,3.225,0.752), (3.16,0.687,3.225,0.752), (3.16,0.687,3.362,0.752), (3.297,0.687,3.362,0.752), (3.297,0.687,3.435,0.752), (3.692,0.687,3.842,0.755), (3.727,0.687,3.792,0.752), (3.922,0.687,4.072,0.755), (3.967,0.687,4.032,0.752), (4.682,0.687,4.827,0.752), (4.727,0.687,4.792,0.752), (4.762,0.687,4.85,0.752), (4.785,0.687,4.85,0.752), (4.785,0.687,4.997,0.752), (4.932,0.687,4.997,0.752), (4.932,0.687,4.997,0.752), (4.932,0.687,4.997,0.752), (4.932,0.687,5.18,0.752), (5.115,0.687,5.18,0.752), (5.115,0.687,5.222,0.752), (5.157,0.687,5.222,0.752), (5.157,0.687,5.317,0.752), (5.252,0.687,5.387,0.752), (5.322,0.687,5.387,0.752), (5.322,0.687,5.387,0.752), (5.322,0.687,5.642,0.752), (5.577,0.687,5.642,0.752), (5.577,0.687,5.642,0.752), (5.577,0.687,5.642,0.752), (5.577,0.687,5.782,0.752), (5.717,0.687,5.782,0.752), (5.717,0.687,5.782,0.752), (5.717,0.687,5.782,0.752), (5.717,0.687,5.92,0.752), (5.855,0.687,5.92,0.752), (5.855,0.687,6.02,0.752), (5.955,0.687,6.02,0.752), (5.955,0.687,6.077,0.752), (6.012,0.687,6.147,0.752), (6.967,0.687,7.032,0.752), (7.455,0.92,7.52,1.195), (7.647,0.92,7.727,1.195), (7.647,0.967,7.712,1.032), (6.7,1.06,6.765,1.195), (7.075,1.06,7.14,1.195), (6.7,1.13,6.765,1.35), (7.075,1.13,7.14,1.35), (7.455,1.13,7.52,1.35), (0,1.285,7.76,1.4)])
R(complex109, boundary, [(0,0,7.76,1.4)])
complex109.add(gdstk.Label('A', (7,0.72), layer=11, texttype=0))
complex109.add(gdstk.Label('B', (3.76,0.72), layer=11, texttype=0))
complex109.add(gdstk.Label('C', (2.12,0.72), layer=11, texttype=0))
complex109.add(gdstk.Label('D', (0.2,0.56), layer=11, texttype=0))
complex109.add(gdstk.Label('E', (1.84,0.72), layer=11, texttype=0))
complex109.add(gdstk.Label('F', (4.76,0.72), layer=11, texttype=0))
complex109.add(gdstk.Label('G', (6.44,0.68), layer=11, texttype=0))
complex109.add(gdstk.Label('H', (4,0.72), layer=11, texttype=0))
complex109.add(gdstk.Label('Y', (7.68,1), layer=11, texttype=0))
complex109.add(gdstk.Label('VCC', (0,1.4), layer=11, texttype=0))
complex109.add(gdstk.Label('GND', (0,0), layer=11, texttype=0))

lib.write_gds('COMPLEX109.gds')
